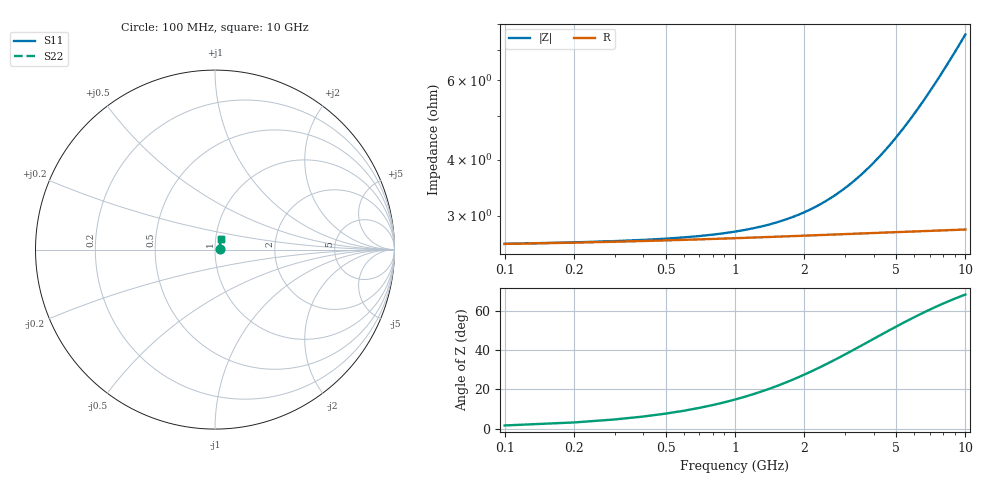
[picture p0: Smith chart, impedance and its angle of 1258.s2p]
# Hz S RI R 50.00
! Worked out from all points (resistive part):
!   100 points, 100 MHz to 10 GHz, reference 50 ohm
!   read as one part in series: R = 2.6 ohm at 100 MHz
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1e8  0.0253 0.000592  0.9747 -0.000749  0.9747 -0.000749  0.0253 0.000592
2e8  0.0255 0.00118  0.9745 -0.0015  0.9745 -0.0015  0.0255 0.00118
8e8  0.026 0.00473  0.974 -0.00599  0.974 -0.00599  0.026 0.00473
1.1e9  0.0262 0.0065  0.9738 -0.00823  0.9738 -0.00823  0.0262 0.0065
1.4e9  0.0263 0.00827  0.9737 -0.0105  0.9737 -0.0105  0.0263 0.00827
1.6e9  0.0264 0.00945  0.9736 -0.012  0.9736 -0.012  0.0264 0.00945
1.8e9  0.0265 0.0106  0.9735 -0.0135  0.9735 -0.0135  0.0265 0.0106
2.1e9  0.0266 0.0124  0.9734 -0.0157  0.9734 -0.0157  0.0266 0.0124
2.5e9  0.0268 0.0148  0.9732 -0.0187  0.9732 -0.0187  0.0268 0.0148
2.9e9  0.027 0.0171  0.973 -0.0217  0.973 -0.0217  0.027 0.0171
3.4e9  0.0272 0.0201  0.9728 -0.0254  0.9728 -0.0254  0.0272 0.0201
5.1e9  0.028 0.03  0.9719 -0.0381  0.9719 -0.0381  0.028 0.03
5.9e9  0.0285 0.0347  0.9714 -0.044  0.9714 -0.044  0.0285 0.0347
6.3e9  0.0288 0.0371  0.9712 -0.047  0.9712 -0.047  0.0288 0.0371
6.7e9  0.029 0.0394  0.9709 -0.05  0.9709 -0.05  0.029 0.0394
7.1e9  0.0293 0.0418  0.9706 -0.0529  0.9706 -0.0529  0.0293 0.0418
7.5e9  0.0296 0.0441  0.9703 -0.0559  0.9703 -0.0559  0.0296 0.0441
7.9e9  0.0299 0.0464  0.97 -0.0589  0.97 -0.0589  0.0299 0.0464
8.4e9  0.0303 0.0494  0.9696 -0.0626  0.9696 -0.0626  0.0303 0.0494
8.8e9  0.0307 0.0517  0.9692 -0.0655  0.9692 -0.0655  0.0307 0.0517
9.2e9  0.031 0.054  0.9689 -0.0685  0.9689 -0.0685  0.031 0.054
1e10  0.0317 0.0587  0.9681 -0.0744  0.9681 -0.0744  0.0317 0.0587
